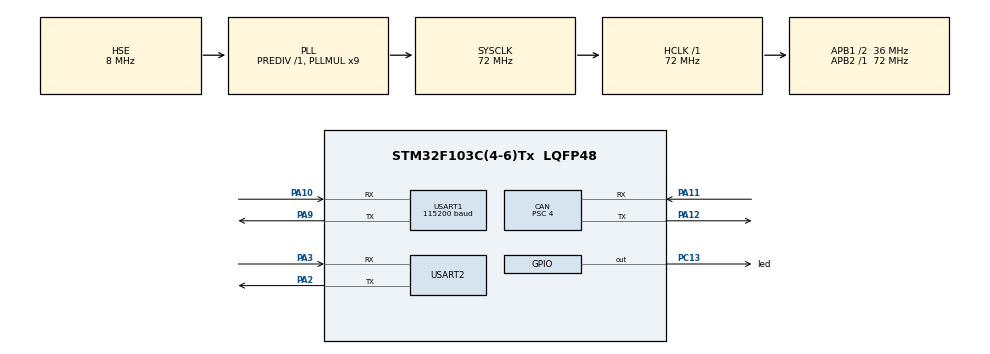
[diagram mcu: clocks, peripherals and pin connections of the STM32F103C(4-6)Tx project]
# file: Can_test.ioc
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CAN.BS1=CAN_BS1_15TQ
CAN.BS2=CAN_BS2_2TQ
CAN.CalculateBaudRate=500000
CAN.CalculateTimeBit=2000
CAN.CalculateTimeQuantum=111.11111111111111
CAN.Prescaler=4
CAN.TXFP=DISABLE
Dma.Request0=USART2_RX
Dma.USART2_RX.0.Direction=DMA_PERIPH_TO_MEMORY
Dma.USART2_RX.0.Instance=DMA1_Channel6
Dma.USART2_RX.0.MemDataAlignment=DMA_MDATAALIGN_BYTE
Dma.USART2_RX.0.MemInc=DMA_MINC_ENABLE
Dma.USART2_RX.0.Mode=DMA_NORMAL
Dma.USART2_RX.0.PeriphDataAlignment=DMA_PDATAALIGN_BYTE
Dma.USART2_RX.0.PeriphInc=DMA_PINC_DISABLE
Dma.USART2_RX.0.Priority=DMA_PRIORITY_LOW
Mcu.Family=STM32F1
Mcu.Name=STM32F103C(4-6)Tx
Mcu.Package=LQFP48
NVIC.DMA1_Channel6_IRQn=true\:0\:0\:false\:false\:true\:false\:true\:true
NVIC.PriorityGroup=NVIC_PRIORITYGROUP_4
NVIC.USART1_IRQn=true\:0\:0\:false\:false\:true\:true\:true\:true
NVIC.USART2_IRQn=true\:0\:0\:false\:false\:true\:true\:true\:true
NVIC.USB_LP_CAN1_RX0_IRQn=true\:0\:0\:false\:false\:true\:true\:true\:true
PA10.Mode=Asynchronous
PA10.Signal=USART1_RX
PA11.Mode=CAN_Activate
PA11.Signal=CAN_RX
PA12.Mode=CAN_Activate
PA12.Signal=CAN_TX
PA13.Mode=Serial_Wire
PA13.Signal=SYS_JTMS-SWDIO
PA14.Mode=Serial_Wire
PA14.Signal=SYS_JTCK-SWCLK
PA2.Mode=Asynchronous
PA2.Signal=USART2_TX
PA3.Mode=Asynchronous
PA3.Signal=USART2_RX
PA9.Mode=Asynchronous
PA9.Signal=USART1_TX
PC13-TAMPER-RTC.GPIO_Label=led
PC13-TAMPER-RTC.PinState=GPIO_PIN_SET
PC13-TAMPER-RTC.Signal=GPIO_Output
PD0-OSC_IN.Mode=HSE-External-Oscillator
PD0-OSC_IN.Signal=RCC_OSC_IN
PD1-OSC_OUT.Mode=HSE-External-Oscillator
PD1-OSC_OUT.Signal=RCC_OSC_OUT
ProjectManager.HeapSize=0x200
ProjectManager.StackSize=0x400
ProjectManager.TargetToolchain=STM32CubeIDE
RCC.AHBFreq_Value=72000000
RCC.APB1CLKDivider=RCC_HCLK_DIV2
RCC.APB1Freq_Value=36000000
RCC.APB1TimFreq_Value=72000000
RCC.APB2Freq_Value=72000000
RCC.APB2TimFreq_Value=72000000
RCC.HCLKFreq_Value=72000000
RCC.PLLMUL=RCC_PLL_MUL9
RCC.PLLSourceVirtual=RCC_PLLSOURCE_HSE
RCC.SYSCLKFreq_VALUE=72000000
RCC.SYSCLKSource=RCC_SYSCLKSOURCE_PLLCLK
RCC.USBFreq_Value=72000000
TIM1.Channel-Output\ Compare1\ No\ Output=TIM_CHANNEL_1
TIM1.Period=9999
TIM1.Prescaler=72
USART1.BaudRate=115200
USART1.VirtualMode=VM_ASYNC
USART2.VirtualMode=VM_ASYNC
VP_TIM1_VS_ClockSourceINT.Mode=Internal
VP_TIM1_VS_no_output1.Mode=Output Compare1 No Output
board=custom

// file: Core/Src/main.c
/* USER CODE BEGIN Header */
/**
  ******************************************************************************
  * @file           : main.c
  * @brief          : Main program body
  ******************************************************************************
  * @attention
  *
  * Copyright (c) 2025 STMicroelectronics.
  * All rights reserved.
  *
  * This software is licensed under terms that can be found in the LICENSE file
  * in the root directory of this software component.
  * If no LICENSE file comes with this software, it is provided AS-IS.
  *
  ******************************************************************************
  */
/* USER CODE END Header */
#include "main.h"

/* USER CODE BEGIN PTD */
CAN_HandleTypeDef hcan;
TIM_HandleTypeDef htim1;
UART_HandleTypeDef huart1;

uint8_t stt_trans = 0;
uint8_t stt_can = 0;
uint8_t Data_Write[8] = "ok";
CAN_RxHeaderTypeDef RxHeader;
uint8_t RxData[8];
uint8_t tt_led = 0;

/* USER CODE END PTD */

/* USER CODE BEGIN PD */
void CAN_Filter_Config (CAN_HandleTypeDef *hcan){

	CAN_FilterTypeDef sFilterConfig;

	sFilterConfig.FilterBank = 0;                // Use filter bank 0
	sFilterConfig.FilterMode = CAN_FILTERMODE_IDLIST; // Use ID mask mode
	sFilterConfig.FilterScale = CAN_FILTERSCALE_16BIT; // 16-bit filter
	sFilterConfig.FilterIdHigh = (0x91 << 5);    // ID = 0x91, left-aligned
	sFilterConfig.FilterIdLow = (0x90 << 5);     // ID = 0x90, right-aligned
	sFilterConfig.FilterMaskIdHigh = 0x0000; // Mask for standard ID
	sFilterConfig.FilterMaskIdLow = 0x0000;
	sFilterConfig.FilterFIFOAssignment = CAN_RX_FIFO0; // Use FIFO 0 for receptioN
	sFilterConfig.FilterActivation = ENABLE;

	if (HAL_CAN_ConfigFilter(hcan, &sFilterConfig) != HAL_OK) {
		// Filter configuration error
		Error_Handler();
	}
}

void CAN_Start(CAN_HandleTypeDef *hcan) {
	if( HAL_CAN_Start(hcan) == HAL_OK){
		HAL_GPIO_WritePin(led_GPIO_Port, led_Pin, RESET);
		HAL_Delay(2000);

	}
    // Activate notification for incoming messages
    if (HAL_CAN_ActivateNotification(hcan, CAN_IT_RX_FIFO0_MSG_PENDING) != HAL_OK) {
        Error_Handler();
    }
}

void SendMsg(){  // wire value
	CAN_TxHeaderTypeDef msg;
	uint32_t mb;
	msg.StdId = 0x78; // ID
	msg.IDE = CAN_ID_STD;
	msg.RTR = CAN_RTR_DATA;
	msg.DLC = 8;
	msg.TransmitGlobalTime = DISABLE;

	Data_Write[1] = 0;
	if (HAL_CAN_AddTxMessage(&hcan, &msg, Data_Write, &mb) == HAL_OK)
	{
		stt_trans = 1;
	}
}
//void CAN_SendMessage(uint16_t id, uint8_t *data, uint8_t length) {
//    CAN_TxHeaderTypeDef TxHeader;
//    uint32_t TxMailbox;
//
//    TxHeader.StdId = id;              // ID chuẩn
//    TxHeader.ExtId = 0;               // Không dùng ID mở rộng
//    TxHeader.IDE = CAN_ID_STD;        // �?ịnh dạng ID chuẩn
//    TxHeader.RTR = CAN_RTR_DATA;      // Gửi dữ liệu (không phải remote frame)
//    TxHeader.DLC = length;            // �?ộ dài dữ liệu (1-8 byte)
//    TxHeader.TransmitGlobalTime = DISABLE;
//
//    if (HAL_CAN_AddTxMessage(&hcan, &TxHeader, data, &TxMailbox) != HAL_OK) {
//        Error_Handler();  // Báo lỗi nếu không gửi được
//    }
//
//    // Ch�? cho đến khi gói tin được gửi thành công
//    while (HAL_CAN_IsTxMessagePending(&hcan, TxMailbox));
//}
//

/* USER CODE END PD */

CAN_HandleTypeDef hcan;

TIM_HandleTypeDef htim1;

UART_HandleTypeDef huart1;
UART_HandleTypeDef huart2;
DMA_HandleTypeDef hdma_usart2_rx;

/* USER CODE BEGIN PV */

/* USER CODE BEGIN PV */

/* USER CODE END PV */

void SystemClock_Config(void);
static void MX_GPIO_Init(void);
static void MX_DMA_Init(void);
static void MX_CAN_Init(void);
static void MX_TIM1_Init(void);
static void MX_USART1_UART_Init(void);
static void MX_USART2_UART_Init(void);

int main(void)
{

  /* MCU Configuration--------------------------------------------------------*/

  /* Reset of all peripherals, Initializes the Flash interface and the Systick. */
  HAL_Init();

  /* Configure the system clock */
  SystemClock_Config();

  /* Initialize all configured peripherals */
  MX_GPIO_Init();
  MX_DMA_Init();
  MX_CAN_Init();
  MX_TIM1_Init();
  MX_USART1_UART_Init();
  MX_USART2_UART_Init();
  /* USER CODE BEGIN 2 */
  HAL_TIM_Base_Start_IT(&htim1);
  CAN_Filter_Config(&hcan);
  CAN_Start(&hcan);
  HAL_UART_Receive_DMA(&huart2, Data_Write, sizeof(Data_Write));

 // HAL_UART_Transmit(&huart1, RxData, sizeof(RxData), 10);

  /* USER CODE END 2 */

  /* Infinite loop */
  while (1)
  {

    /* USER CODE BEGIN 3 */
//	 if(stt_can == 0){
//		 SendMsg();
//	 }

	HAL_UART_Transmit(&huart1, RxData, sizeof(RxData), 10);
	HAL_Delay(200);
	HAL_UART_Receive_DMA(&huart2, Data_Write, sizeof(Data_Write));
  }
  /* USER CODE END 3 */
}

void SystemClock_Config(void)
{
  RCC_OscInitTypeDef RCC_OscInitStruct = {0};
  RCC_ClkInitTypeDef RCC_ClkInitStruct = {0};

  /** Initializes the RCC Oscillators according to the specified parameters
  * in the RCC_OscInitTypeDef structure.
  */
  RCC_OscInitStruct.OscillatorType = RCC_OSCILLATORTYPE_HSE;
  RCC_OscInitStruct.HSEState = RCC_HSE_ON;
  RCC_OscInitStruct.HSEPredivValue = RCC_HSE_PREDIV_DIV1;
  RCC_OscInitStruct.HSIState = RCC_HSI_ON;
  RCC_OscInitStruct.PLL.PLLState = RCC_PLL_ON;
  RCC_OscInitStruct.PLL.PLLSource = RCC_PLLSOURCE_HSE;
  RCC_OscInitStruct.PLL.PLLMUL = RCC_PLL_MUL9;
  if (HAL_RCC_OscConfig(&RCC_OscInitStruct) != HAL_OK)
  {
    Error_Handler();
  }

  /** Initializes the CPU, AHB and APB buses clocks
  */
  RCC_ClkInitStruct.ClockType = RCC_CLOCKTYPE_HCLK|RCC_CLOCKTYPE_SYSCLK
                              |RCC_CLOCKTYPE_PCLK1|RCC_CLOCKTYPE_PCLK2;
  RCC_ClkInitStruct.SYSCLKSource = RCC_SYSCLKSOURCE_PLLCLK;
  RCC_ClkInitStruct.AHBCLKDivider = RCC_SYSCLK_DIV1;
  RCC_ClkInitStruct.APB1CLKDivider = RCC_HCLK_DIV2;
  RCC_ClkInitStruct.APB2CLKDivider = RCC_HCLK_DIV1;

  if (HAL_RCC_ClockConfig(&RCC_ClkInitStruct, FLASH_LATENCY_2) != HAL_OK)
  {
    Error_Handler();
  }
}

static void MX_CAN_Init(void)
{

  hcan.Instance = CAN1;
  hcan.Init.Prescaler = 4;
  hcan.Init.Mode = CAN_MODE_NORMAL;
  hcan.Init.SyncJumpWidth = CAN_SJW_1TQ;
  hcan.Init.TimeSeg1 = CAN_BS1_15TQ;
  hcan.Init.TimeSeg2 = CAN_BS2_2TQ;
  hcan.Init.TimeTriggeredMode = DISABLE;
  hcan.Init.AutoBusOff = DISABLE;
  hcan.Init.AutoWakeUp = DISABLE;
  hcan.Init.AutoRetransmission = DISABLE;
  hcan.Init.ReceiveFifoLocked = DISABLE;
  hcan.Init.TransmitFifoPriority = DISABLE;
  if (HAL_CAN_Init(&hcan) != HAL_OK)
  {
    Error_Handler();
  }

}

static void MX_TIM1_Init(void)
{

  TIM_ClockConfigTypeDef sClockSourceConfig = {0};
  TIM_MasterConfigTypeDef sMasterConfig = {0};
  TIM_OC_InitTypeDef sConfigOC = {0};
  TIM_BreakDeadTimeConfigTypeDef sBreakDeadTimeConfig = {0};

  htim1.Instance = TIM1;
  htim1.Init.Prescaler = 72;
  htim1.Init.CounterMode = TIM_COUNTERMODE_UP;
  htim1.Init.Period = 9999;
  htim1.Init.ClockDivision = TIM_CLOCKDIVISION_DIV1;
  htim1.Init.RepetitionCounter = 0;
  htim1.Init.AutoReloadPreload = TIM_AUTORELOAD_PRELOAD_DISABLE;
  if (HAL_TIM_Base_Init(&htim1) != HAL_OK)
  {
    Error_Handler();
  }
  sClockSourceConfig.ClockSource = TIM_CLOCKSOURCE_INTERNAL;
  if (HAL_TIM_ConfigClockSource(&htim1, &sClockSourceConfig) != HAL_OK)
  {
    Error_Handler();
  }
  if (HAL_TIM_OC_Init(&htim1) != HAL_OK)
  {
    Error_Handler();
  }
  sMasterConfig.MasterOutputTrigger = TIM_TRGO_RESET;
  sMasterConfig.MasterSlaveMode = TIM_MASTERSLAVEMODE_DISABLE;
  if (HAL_TIMEx_MasterConfigSynchronization(&htim1, &sMasterConfig) != HAL_OK)
  {
    Error_Handler();
  }
  sConfigOC.OCMode = TIM_OCMODE_TIMING;
  sConfigOC.Pulse = 0;
  sConfigOC.OCPolarity = TIM_OCPOLARITY_HIGH;
  sConfigOC.OCNPolarity = TIM_OCNPOLARITY_HIGH;
  sConfigOC.OCFastMode = TIM_OCFAST_DISABLE;
  sConfigOC.OCIdleState = TIM_OCIDLESTATE_RESET;
  sConfigOC.OCNIdleState = TIM_OCNIDLESTATE_RESET;
  if (HAL_TIM_OC_ConfigChannel(&htim1, &sConfigOC, TIM_CHANNEL_1) != HAL_OK)
  {
    Error_Handler();
  }
  sBreakDeadTimeConfig.OffStateRunMode = TIM_OSSR_DISABLE;
  sBreakDeadTimeConfig.OffStateIDLEMode = TIM_OSSI_DISABLE;
  sBreakDeadTimeConfig.LockLevel = TIM_LOCKLEVEL_OFF;
  sBreakDeadTimeConfig.DeadTime = 0;
  sBreakDeadTimeConfig.BreakState = TIM_BREAK_DISABLE;
  sBreakDeadTimeConfig.BreakPolarity = TIM_BREAKPOLARITY_HIGH;
  sBreakDeadTimeConfig.AutomaticOutput = TIM_AUTOMATICOUTPUT_DISABLE;
  if (HAL_TIMEx_ConfigBreakDeadTime(&htim1, &sBreakDeadTimeConfig) != HAL_OK)
  {
    Error_Handler();
  }

}

static void MX_USART1_UART_Init(void)
{

  huart1.Instance = USART1;
  huart1.Init.BaudRate = 115200;
  huart1.Init.WordLength = UART_WORDLENGTH_8B;
  huart1.Init.StopBits = UART_STOPBITS_1;
  huart1.Init.Parity = UART_PARITY_NONE;
  huart1.Init.Mode = UART_MODE_TX_RX;
  huart1.Init.HwFlowCtl = UART_HWCONTROL_NONE;
  huart1.Init.OverSampling = UART_OVERSAMPLING_16;
  if (HAL_UART_Init(&huart1) != HAL_OK)
  {
    Error_Handler();
  }

}

static void MX_USART2_UART_Init(void)
{

  huart2.Instance = USART2;
  huart2.Init.BaudRate = 115200;
  huart2.Init.WordLength = UART_WORDLENGTH_8B;
  huart2.Init.StopBits = UART_STOPBITS_1;
  huart2.Init.Parity = UART_PARITY_NONE;
  huart2.Init.Mode = UART_MODE_TX_RX;
  huart2.Init.HwFlowCtl = UART_HWCONTROL_NONE;
  huart2.Init.OverSampling = UART_OVERSAMPLING_16;
  if (HAL_UART_Init(&huart2) != HAL_OK)
  {
    Error_Handler();
  }

}

static void MX_DMA_Init(void)
{

  /* DMA controller clock enable */
  __HAL_RCC_DMA1_CLK_ENABLE();

  /* DMA interrupt init */
  /* DMA1_Channel6_IRQn interrupt configuration */
  HAL_NVIC_SetPriority(DMA1_Channel6_IRQn, 0, 0);
  HAL_NVIC_EnableIRQ(DMA1_Channel6_IRQn);

}

static void MX_GPIO_Init(void)
{
  GPIO_InitTypeDef GPIO_InitStruct = {0};

  /* GPIO Ports Clock Enable */
  __HAL_RCC_GPIOC_CLK_ENABLE();
  __HAL_RCC_GPIOD_CLK_ENABLE();
  __HAL_RCC_GPIOA_CLK_ENABLE();

  /*Configure GPIO pin Output Level */
  HAL_GPIO_WritePin(led_GPIO_Port, led_Pin, GPIO_PIN_SET);

  /*Configure GPIO pin : led_Pin */
  GPIO_InitStruct.Pin = led_Pin;
  GPIO_InitStruct.Mode = GPIO_MODE_OUTPUT_PP;
  GPIO_InitStruct.Pull = GPIO_NOPULL;
  GPIO_InitStruct.Speed = GPIO_SPEED_FREQ_LOW;
  HAL_GPIO_Init(led_GPIO_Port, &GPIO_InitStruct);

}

/* USER CODE BEGIN 4 */

void HAL_CAN_RxFifo0MsgPendingCallback(CAN_HandleTypeDef *hcan)
{
	//HAL_GPIO_TogglePin(GPIOC, GPIO_PIN_13);
    // Retrieve the message from the FIFO
    if (HAL_CAN_GetRxMessage(hcan, CAN_RX_FIFO0, &RxHeader, RxData) == HAL_OK) {

        if (RxHeader.StdId == 0x91) {
        	//tt_led = (int)RxData[0]|(int)RxData[1] ;
        	HAL_GPIO_TogglePin(GPIOC, GPIO_PIN_13);
        	stt_can = 1;

        }else if (RxHeader.StdId == 0x90) {
        	tt_led = (int)RxData[0]|(int)RxData[1] ;
        	 HAL_GPIO_WritePin(led_GPIO_Port, led_Pin, RESET);

        }
    }
}

//void HAL_TIM_PeriodElapsedCallback(TIM_HandleTypeDef *htim)
//{
//	if (htim->Instance == TIM2)
//	{
//		CAN_TxHeaderTypeDef msg;
//		uint32_t mb;
//		msg.StdId = 0x78;
//		msg.IDE = CAN_ID_STD;
//		msg.RTR = CAN_RTR_DATA;
//		msg.DLC = 8;
//		msg.TransmitGlobalTime = DISABLE;
//
//		Data_Write[1] = 0;
//
//		if (HAL_CAN_AddTxMessage(&hcan, &msg, Data_Write, &mb) != HAL_OK)
//		{
//			Error_Handler();
//		}
//	}
//}
/* USER CODE END 4 */

void Error_Handler(void)
{
  __disable_irq();
  while (1)
  {
  }
}
